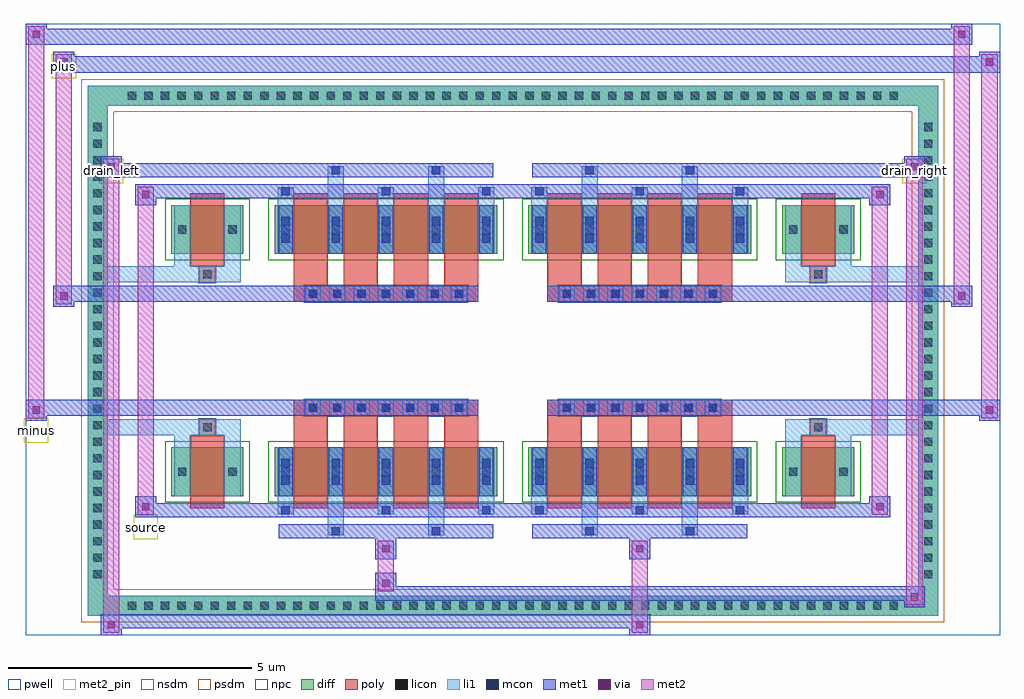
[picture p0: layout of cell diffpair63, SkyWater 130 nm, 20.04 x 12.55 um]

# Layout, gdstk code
import gdstk
lib = gdstk.Library(unit=1e-6, precision=5e-09)
def R(c, l, rs):  # rectangles x0, y0, x1, y1
    for r in rs: c.add(gdstk.rectangle(r[:2], r[2:], *l))
def A(c, l, x, y, w, h, nx, ny, dx, dy):  # array of equal rectangles
    R(c, l, [(x+i*dx, y+j*dy, x+i*dx+w, y+j*dy+h) for i in range(nx) for j in range(ny)])
def P(c, l, *ps):  # polygons
    for p in ps: c.add(gdstk.Polygon(p, *l))
pwell = (64, 44)
diff = (65, 20)
poly = (66, 20)
licon = (66, 44)
li1 = (67, 20)
mcon = (67, 44)
met1 = (68, 20)
via = (68, 44)
met2_pin = (69, 16)
met2 = (69, 20)
nsdm = (93, 44)
psdm = (94, 20)
npc = (95, 20)

diffpair63 = lib.new_cell('diffpair63')
R(diffpair63, pwell, [(-10,-5.84,10,6.71), (-7.32,-4.03,-0.01,-0.805), (0.01,-4.03,7.32,-0.805), (-7.32,0.805,-0.01,4.03), (0.01,0.805,7.32,4.03)])
A(diffpair63, diff, -8.025, -5.44, 0.41, 0.41, 47, 2, 0.34, 10.47)
A(diffpair63, diff, -8.73, -4.795, 0.41, 0.41, 1, 28, 0, 0.34)
A(diffpair63, diff, 8.32, -4.795, 0.41, 0.41, 1, 28, 0, 0.34)
R(diffpair63, diff, [(-8.025,-5.44,8.025,-5.03), (-8.73,-4.795,-8.32,4.795), (8.32,-4.795,8.73,4.795), (-7.01,-2.985,-5.53,-1.985), (-4.89,-2.985,-0.32,-1.985), (0.32,-2.985,4.89,-1.985), (5.53,-2.985,7.01,-1.985), (-7.01,1.985,-5.53,2.985), (-4.89,1.985,-0.32,2.985), (0.32,1.985,4.89,2.985), (5.53,1.985,7.01,2.985), (-8.025,5.03,8.025,5.44)])
P(diffpair63, diff, [(8.73,5.44),(-8.73,5.44),(-8.73,-5.03),(-8.32,-5.03),(-8.32,5.03),(8.32,5.03),(8.32,-5.03),(-8.32,-5.03),(-8.73,-5.03),(-8.73,-5.44),(8.73,-5.44)])
A(diffpair63, poly, -4.5, -3.235, 0.7, 1.5, 4, 2, 1.03, 4.97)
A(diffpair63, poly, 0.71, -3.235, 0.7, 1.5, 4, 2, 1.03, 4.97)
A(diffpair63, poly, -4.5, -1.735, 0.7, 0.4, 4, 2, 1.03, 3.07)
A(diffpair63, poly, 0.71, -1.735, 0.7, 0.4, 4, 2, 1.03, 3.07)
A(diffpair63, poly, -4.27, -1.335, 0.33, 0.33, 7, 2, 0.5, 2.34)
A(diffpair63, poly, 0.94, -1.335, 0.33, 0.33, 7, 2, 0.5, 2.34)
R(diffpair63, poly, [(-6.62,-3.235,-5.92,-1.735), (5.92,-3.235,6.62,-1.735), (-6.435,-1.735,-6.105,-1.405), (-6.435,-1.735,-6.105,-1.405), (6.105,-1.735,6.435,-1.405), (6.105,-1.735,6.435,-1.405), (-4.5,-1.335,-0.71,-1.005), (0.71,-1.335,4.5,-1.005), (-4.5,1.005,-0.71,1.335), (0.71,1.005,4.5,1.335), (-6.435,1.405,-6.105,1.735), (-6.435,1.405,-6.105,1.735), (6.105,1.405,6.435,1.735), (6.105,1.405,6.435,1.735), (-6.62,1.735,-5.92,3.235), (5.92,1.735,6.62,3.235)])
A(diffpair63, licon, -7.905, -5.32, 0.17, 0.17, 47, 2, 0.34, 10.47)
A(diffpair63, licon, -8.61, -4.675, 0.17, 0.17, 1, 28, 0, 0.34)
A(diffpair63, licon, 8.44, -4.675, 0.17, 0.17, 1, 28, 0, 0.34)
A(diffpair63, licon, -4.75, -2.57, 0.17, 0.17, 5, 2, 1.03, 4.97)
A(diffpair63, licon, 0.46, -2.57, 0.17, 0.17, 5, 2, 1.03, 4.97)
A(diffpair63, licon, -4.19, -1.255, 0.17, 0.17, 7, 2, 0.5, 2.34)
A(diffpair63, licon, 1.02, -1.255, 0.17, 0.17, 7, 2, 0.5, 2.34)
R(diffpair63, licon, [(-6.87,-2.57,-6.7,-2.4), (-5.84,-2.57,-5.67,-2.4), (5.67,-2.57,5.84,-2.4), (6.7,-2.57,6.87,-2.4), (-6.355,-1.655,-6.185,-1.485), (6.185,-1.655,6.355,-1.485), (-6.355,1.485,-6.185,1.655), (6.185,1.485,6.355,1.655), (-6.87,2.4,-6.7,2.57), (-5.84,2.4,-5.67,2.57), (5.67,2.4,5.84,2.57), (6.7,2.4,6.87,2.57)])
A(diffpair63, li1, -7.985, -5.4, 0.33, 0.33, 47, 2, 0.34, 10.47)
A(diffpair63, li1, -8.69, -4.755, 0.33, 0.33, 1, 28, 0, 0.34)
A(diffpair63, li1, 8.36, -4.755, 0.33, 0.33, 1, 28, 0, 0.34)
A(diffpair63, li1, -4.83, -3.36, 0.33, 0.375, 3, 2, 2.06, 6.345)
A(diffpair63, li1, -4.75, -3.36, 0.17, 0.17, 3, 2, 2.06, 6.55)
A(diffpair63, li1, 0.38, -3.36, 0.33, 0.375, 3, 2, 2.06, 6.345)
A(diffpair63, li1, 0.46, -3.36, 0.17, 0.17, 3, 2, 2.06, 6.55)
A(diffpair63, li1, -4.83, -2.985, 0.33, 1, 5, 2, 1.03, 4.97)
A(diffpair63, li1, 0.38, -2.985, 0.33, 1, 5, 2, 1.03, 4.97)
A(diffpair63, li1, -4.75, -2.75, 0.17, 0.17, 5, 2, 1.03, 0.36)
A(diffpair63, li1, -4.75, -2.75, 0.17, 0.53, 5, 2, 1.03, 4.97)
A(diffpair63, li1, 0.46, -2.75, 0.17, 0.17, 5, 2, 1.03, 0.36)
A(diffpair63, li1, 0.46, -2.75, 0.17, 0.53, 5, 2, 1.03, 4.97)
A(diffpair63, li1, -4.83, -2.65, 0.33, 0.33, 5, 2, 1.03, 4.97)
A(diffpair63, li1, 0.38, -2.65, 0.33, 0.33, 5, 2, 1.03, 4.97)
A(diffpair63, li1, -4.27, -1.335, 0.33, 0.33, 7, 2, 0.5, 2.34)
A(diffpair63, li1, 0.94, -1.335, 0.33, 0.33, 7, 2, 0.5, 2.34)
A(diffpair63, li1, -4.75, 2.22, 0.17, 0.17, 5, 2, 1.03, 0.36)
A(diffpair63, li1, 0.46, 2.22, 0.17, 0.17, 5, 2, 1.03, 0.36)
R(diffpair63, li1, [(-8.73,-5.44,-8.32,-5.03), (-8.73,-5.44,-8.32,-5.03), (-8.32,-5.44,8.32,-5.03), (8.32,-5.44,8.73,-5.03), (8.32,-5.44,8.73,-5.03), (-8.73,-5.03,-8.32,5.03), (8.32,-5.03,8.73,5.03), (-3.8,-3.79,-3.47,-2.985), (-3.72,-3.79,-3.55,-3.62), (-1.74,-3.79,-1.41,-2.985), (-1.66,-3.79,-1.49,-3.62), (1.41,-3.79,1.74,-2.985), (1.49,-3.79,1.66,-3.62), (3.47,-3.79,3.8,-2.985), (3.55,-3.79,3.72,-3.62), (-6.95,-2.985,-6.62,-1.985), (-5.92,-2.985,-5.59,-1.985), (5.59,-2.985,5.92,-1.985), (6.62,-2.985,6.95,-1.985), (-6.95,-2.65,-6.62,-2.32), (-5.92,-2.65,-5.59,-2.32), (5.59,-2.65,5.92,-2.32), (6.62,-2.65,6.95,-2.32), (-6.95,-1.985,-6.62,-1.405), (-5.92,-1.985,-5.59,-1.405), (5.59,-1.985,5.92,-1.405), (6.62,-1.985,6.95,-1.405), (-8.73,-1.735,-6.435,-1.405), (-6.95,-1.735,-6.435,-1.405), (-6.435,-1.735,-6.105,-1.405), (-6.105,-1.735,-5.59,-1.405), (5.59,-1.735,6.105,-1.405), (6.105,-1.735,6.435,-1.405), (6.105,-1.735,8.73,-1.405), (6.435,-1.735,6.95,-1.405), (-8.73,1.405,-6.435,1.735), (-6.95,1.405,-6.435,1.735), (-6.95,1.405,-6.62,1.985), (-6.435,1.405,-6.105,1.735), (-6.105,1.405,-5.59,1.735), (-5.92,1.405,-5.59,1.985), (5.59,1.405,6.105,1.735), (5.59,1.405,5.92,1.985), (6.105,1.405,6.435,1.735), (6.105,1.405,8.73,1.735), (6.435,1.405,6.95,1.735), (6.62,1.405,6.95,1.985), (-6.95,1.985,-6.62,2.985), (-5.92,1.985,-5.59,2.985), (5.59,1.985,5.92,2.985), (6.62,1.985,6.95,2.985), (-6.95,2.32,-6.62,2.65), (-5.92,2.32,-5.59,2.65), (5.59,2.32,5.92,2.65), (6.62,2.32,6.95,2.65), (-3.8,2.985,-3.47,3.79), (-1.74,2.985,-1.41,3.79), (1.41,2.985,1.74,3.79), (3.47,2.985,3.8,3.79), (-3.72,3.62,-3.55,3.79), (-1.66,3.62,-1.49,3.79), (1.49,3.62,1.66,3.79), (3.55,3.62,3.72,3.79), (-8.73,5.03,-8.32,5.44), (-8.73,5.03,-8.32,5.44), (-8.32,5.03,8.32,5.44), (8.32,5.03,8.73,5.44), (8.32,5.03,8.73,5.44)])
A(diffpair63, mcon, -4.75, -3.36, 0.17, 0.17, 3, 2, 2.06, 6.55)
A(diffpair63, mcon, 0.46, -3.36, 0.17, 0.17, 3, 2, 2.06, 6.55)
A(diffpair63, mcon, -4.75, -2.75, 0.17, 0.17, 5, 2, 1.03, 0.36)
A(diffpair63, mcon, 0.46, -2.75, 0.17, 0.17, 5, 2, 1.03, 0.36)
A(diffpair63, mcon, -4.19, -1.255, 0.17, 0.17, 7, 2, 0.5, 2.34)
A(diffpair63, mcon, 1.02, -1.255, 0.17, 0.17, 7, 2, 0.5, 2.34)
A(diffpair63, mcon, -4.75, 2.22, 0.17, 0.17, 5, 2, 1.03, 0.36)
A(diffpair63, mcon, 0.46, 2.22, 0.17, 0.17, 5, 2, 1.03, 0.36)
R(diffpair63, mcon, [(-3.72,-3.79,-3.55,-3.62), (-1.66,-3.79,-1.49,-3.62), (1.49,-3.79,1.66,-3.62), (3.55,-3.79,3.72,-3.62), (-3.72,3.62,-3.55,3.79), (-1.66,3.62,-1.49,3.79), (1.49,3.62,1.66,3.79), (3.55,3.62,3.72,3.79)])
A(diffpair63, met1, -4.81, -3.42, 0.29, 0.29, 3, 2, 2.06, 6.55)
A(diffpair63, met1, 0.4, -3.42, 0.29, 0.29, 3, 2, 2.06, 6.55)
A(diffpair63, met1, -4.81, -2.985, 0.29, 1, 5, 2, 1.03, 4.97)
A(diffpair63, met1, 0.4, -2.985, 0.29, 1, 5, 2, 1.03, 4.97)
A(diffpair63, met1, -4.81, -2.81, 0.29, 0.29, 5, 2, 1.03, 0.36)
A(diffpair63, met1, 0.4, -2.81, 0.29, 0.29, 5, 2, 1.03, 0.36)
A(diffpair63, met1, -4.25, -1.315, 0.29, 0.29, 7, 2, 0.5, 2.34)
A(diffpair63, met1, 0.96, -1.315, 0.29, 0.29, 7, 2, 0.5, 2.34)
A(diffpair63, met1, -4.81, 2.16, 0.29, 0.29, 5, 2, 1.03, 0.36)
A(diffpair63, met1, 0.4, 2.16, 0.29, 0.29, 5, 2, 1.03, 0.36)
R(diffpair63, met1, [(-8.46,-5.84,-8.03,-5.41), (2.39,-5.84,2.82,-5.41), (-8.46,-5.7,2.82,-5.41), (8.03,-5.27,8.46,-4.84), (-2.82,-5.13,8.46,-4.84), (-2.82,-4.99,-2.39,-4.56), (-2.82,-4.28,-2.39,-3.85), (2.39,-4.28,2.82,-3.85), (-4.81,-3.85,-0.4,-3.56), (-3.78,-3.85,-3.49,-3.56), (-1.72,-3.85,-1.43,-3.56), (0.4,-3.85,4.81,-3.56), (1.43,-3.85,1.72,-3.56), (3.49,-3.85,3.78,-3.56), (-7.75,-3.42,-7.32,-2.99), (-7.75,-3.42,-4.81,-3.13), (-4.81,-3.42,-0.4,-3.13), (-0.4,-3.42,0.4,-3.13), (0.4,-3.42,4.81,-3.13), (4.81,-3.42,7.75,-3.13), (7.32,-3.42,7.75,-2.99), (-10,-1.435,-9.57,-1.005), (9.57,-1.435,10,-1.005), (-10,-1.335,-0.71,-1.005), (-4.5,-1.335,-0.71,-1.005), (0.71,-1.335,4.5,-1.005), (0.71,-1.335,10,-1.005), (-9.43,0.905,-9,1.335), (9,0.905,9.43,1.335), (-9.43,1.005,-4.5,1.335), (-4.5,1.005,-0.71,1.335), (0.71,1.005,4.5,1.335), (4.5,1.005,9.43,1.335), (-7.75,2.99,-7.32,3.42), (7.32,2.99,7.75,3.42), (-7.75,3.13,-4.81,3.42), (-4.81,3.13,-0.4,3.42), (-0.4,3.13,0.4,3.42), (0.4,3.13,4.81,3.42), (4.81,3.13,7.75,3.42), (-8.46,3.56,-8.03,3.99), (-8.46,3.56,-4.81,3.85), (-4.81,3.56,-0.4,3.85), (-3.78,3.56,-3.49,3.85), (-1.72,3.56,-1.43,3.85), (0.4,3.56,4.81,3.85), (1.43,3.56,1.72,3.85), (3.49,3.56,3.78,3.85), (4.81,3.56,8.46,3.85), (8.03,3.56,8.46,3.99), (-9.43,5.71,-9,6.14), (-9.43,5.71,-7.32,6.04), (-7.32,5.71,7.32,6.04), (7.32,5.71,10,6.04), (9.57,5.71,10,6.14), (-10,6.28,-9.57,6.71), (-10,6.28,-7.32,6.61), (-7.32,6.28,7.32,6.61), (7.32,6.28,9.43,6.61), (9,6.28,9.43,6.71)])
R(diffpair63, via, [(-8.32,-5.7,-8.17,-5.55), (2.53,-5.7,2.68,-5.55), (8.17,-5.13,8.32,-4.98), (-2.68,-4.85,-2.53,-4.7), (-2.68,-4.14,-2.53,-3.99), (2.53,-4.14,2.68,-3.99), (-7.61,-3.28,-7.46,-3.13), (7.46,-3.28,7.61,-3.13), (-9.86,-1.295,-9.71,-1.145), (9.71,-1.295,9.86,-1.145), (-9.29,1.045,-9.14,1.195), (9.14,1.045,9.29,1.195), (-7.61,3.13,-7.46,3.28), (7.46,3.13,7.61,3.28), (-8.32,3.7,-8.17,3.85), (8.17,3.7,8.32,3.85), (-9.29,5.85,-9.14,6), (9.71,5.85,9.86,6), (-9.86,6.42,-9.71,6.57), (9.14,6.42,9.29,6.57)])
R(diffpair63, met2_pin, [(-7.785,-3.87,-7.285,-3.37), (-10.035,-1.885,-9.535,-1.385), (-8.495,3.44,-7.995,3.94), (7.995,3.44,8.495,3.94), (-9.465,5.59,-8.965,6.09)])
R(diffpair63, met2, [(-8.41,-5.79,-8.08,-5.46), (-8.41,-5.79,-8.08,3.94), (2.44,-5.79,2.77,-5.46), (2.44,-5.46,2.77,-4.23), (8.08,-5.22,8.41,-4.89), (8.08,-5.22,8.41,3.94), (-2.77,-4.94,-2.44,-4.61), (-2.77,-4.61,-2.44,-4.23), (-2.77,-4.23,-2.44,-3.9), (2.44,-4.23,2.77,-3.9), (-7.7,-3.37,-7.37,-3.04), (-7.7,-3.37,-7.37,3.37), (7.37,-3.37,7.7,-3.04), (7.37,-3.37,7.7,3.37), (-9.95,-1.385,-9.62,-1.055), (-9.95,-1.385,-9.62,6.66), (9.62,-1.385,9.95,-1.055), (9.62,-1.385,9.95,6.09), (-9.38,0.955,-9.05,1.285), (-9.38,0.955,-9.05,6.09), (9.05,0.955,9.38,1.285), (9.05,0.955,9.38,6.66), (-7.7,3.04,-7.37,3.37), (7.37,3.04,7.7,3.37), (-8.41,3.61,-8.08,3.94), (8.08,3.61,8.41,3.94), (-9.38,5.76,-9.05,6.09), (9.62,5.76,9.95,6.09), (-9.95,6.33,-9.62,6.66), (9.05,6.33,9.38,6.66)])
P(diffpair63, met2, [(9.95,-1.385),(9.95,-1.385),(9.95,-1.055),(9.95,-1.055)],
  [(9.95,5.76),(9.95,5.76),(9.95,6.09),(9.95,6.09)],
  [(-9.62,-1.385),(-9.62,-1.385),(-9.62,-1.055),(-9.62,-1.055)],
  [(-9.62,6.33),(-9.62,6.33),(-9.62,6.66),(-9.62,6.66)],
  [(9.38,0.955),(9.38,0.955),(9.38,1.285),(9.38,1.285)],
  [(9.38,6.33),(9.38,6.33),(9.38,6.66),(9.38,6.66)],
  [(-9.05,0.955),(-9.05,0.955),(-9.05,1.285),(-9.05,1.285)],
  [(-9.05,5.76),(-9.05,5.76),(-9.05,6.09),(-9.05,6.09)],
  [(-8.08,-5.79),(-8.08,-5.79),(-8.08,-5.46),(-8.08,-5.46)],
  [(-8.08,3.61),(-8.08,3.61),(-8.08,3.94),(-8.08,3.94)],
  [(8.41,-5.22),(8.41,-5.22),(8.41,-4.89),(8.41,-4.89)],
  [(8.41,3.61),(8.41,3.61),(8.41,3.94),(8.41,3.94)],
  [(-7.37,-3.37),(-7.37,-3.37),(-7.37,-3.04),(-7.37,-3.04)],
  [(-7.37,3.04),(-7.37,3.04),(-7.37,3.37),(-7.37,3.37)],
  [(7.7,-3.37),(7.7,-3.37),(7.7,-3.04),(7.7,-3.04)],
  [(7.7,3.04),(7.7,3.04),(7.7,3.37),(7.7,3.37)])
R(diffpair63, nsdm, [(-7.14,-3.115,-5.4,-1.855), (-5.02,-3.115,-0.19,-1.855), (0.19,-3.115,5.02,-1.855), (5.4,-3.115,7.14,-1.855), (-7.14,1.855,-5.4,3.115), (-5.02,1.855,-0.19,3.115), (0.19,1.855,5.02,3.115), (5.4,1.855,7.14,3.115)])
P(diffpair63, psdm, [(8.86,5.57),(-8.86,5.57),(-8.86,-4.9),(-8.19,-4.9),(-8.19,4.9),(8.19,4.9),(8.19,-4.9),(-8.19,-4.9),(-8.86,-4.9),(-8.86,-5.57),(8.86,-5.57)])
A(diffpair63, npc, -4.29, -1.355, 0.37, 0.37, 7, 2, 0.5, 2.34)
A(diffpair63, npc, 0.92, -1.355, 0.37, 0.37, 7, 2, 0.5, 2.34)
R(diffpair63, npc, [(-6.455,-1.755,-6.085,-1.385), (6.085,-1.755,6.455,-1.385), (-4.29,-1.355,-3.42,-0.985), (-4.29,-1.355,-3.42,-0.985), (-3.79,-1.355,-2.92,-0.985), (-3.79,-1.355,-2.92,-0.985), (-3.29,-1.355,-2.42,-0.985), (-3.29,-1.355,-2.42,-0.985), (-2.79,-1.355,-1.92,-0.985), (-2.79,-1.355,-1.92,-0.985), (-2.29,-1.355,-1.42,-0.985), (-2.29,-1.355,-1.42,-0.985), (-1.79,-1.355,-0.92,-0.985), (-1.79,-1.355,-0.92,-0.985), (0.92,-1.355,1.79,-0.985), (0.92,-1.355,1.79,-0.985), (1.42,-1.355,2.29,-0.985), (1.42,-1.355,2.29,-0.985), (1.92,-1.355,2.79,-0.985), (1.92,-1.355,2.79,-0.985), (2.42,-1.355,3.29,-0.985), (2.42,-1.355,3.29,-0.985), (2.92,-1.355,3.79,-0.985), (2.92,-1.355,3.79,-0.985), (3.42,-1.355,4.29,-0.985), (3.42,-1.355,4.29,-0.985), (-4.29,0.985,-3.42,1.355), (-4.29,0.985,-3.42,1.355), (-3.79,0.985,-2.92,1.355), (-3.79,0.985,-2.92,1.355), (-3.29,0.985,-2.42,1.355), (-3.29,0.985,-2.42,1.355), (-2.79,0.985,-1.92,1.355), (-2.79,0.985,-1.92,1.355), (-2.29,0.985,-1.42,1.355), (-2.29,0.985,-1.42,1.355), (-1.79,0.985,-0.92,1.355), (-1.79,0.985,-0.92,1.355), (0.92,0.985,1.79,1.355), (0.92,0.985,1.79,1.355), (1.42,0.985,2.29,1.355), (1.42,0.985,2.29,1.355), (1.92,0.985,2.79,1.355), (1.92,0.985,2.79,1.355), (2.42,0.985,3.29,1.355), (2.42,0.985,3.29,1.355), (2.92,0.985,3.79,1.355), (2.92,0.985,3.79,1.355), (3.42,0.985,4.29,1.355), (3.42,0.985,4.29,1.355), (-6.455,1.385,-6.085,1.755), (6.085,1.385,6.455,1.755)])
diffpair63.add(gdstk.Label('minus', (-9.785,-1.635), layer=69, texttype=5))
diffpair63.add(gdstk.Label('drain_right', (8.245,3.69), layer=69, texttype=5))
diffpair63.add(gdstk.Label('drain_left', (-8.245,3.69), layer=69, texttype=5))
diffpair63.add(gdstk.Label('source', (-7.535,-3.62), layer=69, texttype=5))
diffpair63.add(gdstk.Label('plus', (-9.215,5.84), layer=69, texttype=5))

lib.write_gds('diffpair63.gds')
